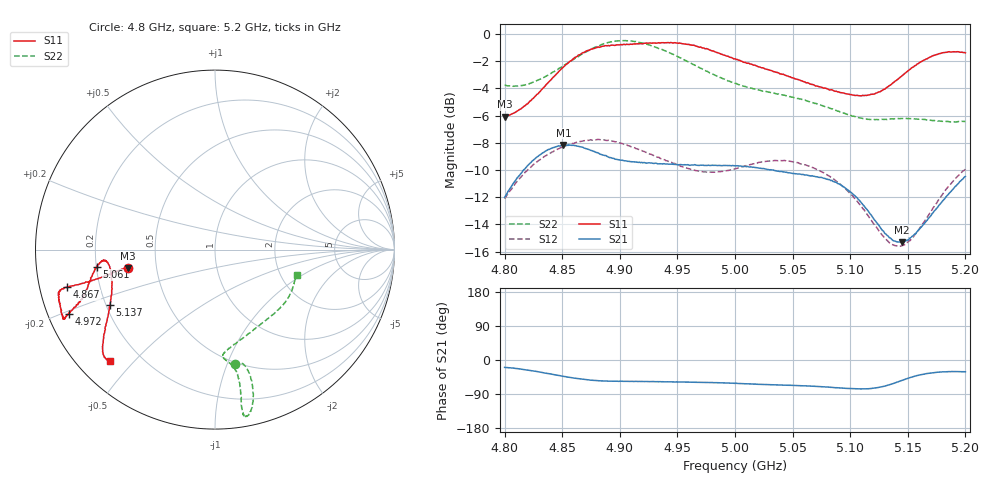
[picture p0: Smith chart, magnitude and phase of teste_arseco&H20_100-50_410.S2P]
! Network Analyzer HP8722D
! Hewlett-Packard
! Data name: Linha & Wilkinson
! Saver's name: Rodrigo Anjos
! Comments: Teste da utilização de aquisição
! continua pelo VNA HP8722D
! Time and date: 6/5/2025 15:59
!  Frequency  S11  S21  S12  S22
# HZ  S  MA R 50
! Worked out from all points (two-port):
!   401 points, 4.8 GHz to 5.2 GHz, reference 50 ohm
!   highest |S21| = -8.16 dB at 4.851 GHz (marker M1); lowest = -15.3 dB at 5.145 GHz (marker M2)
!   |S21| within 3 dB of the highest: 4.806 GHz to 5.093 GHz (286.5 MHz wide, 5.79 % of centre); 5.192012 GHz to end of sweep
!   lowest |S11| = -6.1 dB at 4.8 GHz (marker M3), VSWR 2.97, Z = 17 - j4.62 ohm
!   |S11| at or under -10 dB: nowhere
!   |S22| runs from -6.5 to -0.5 dB; largest |S21 - S12| = 0.62
!   S11 on the Smith chart (normalised r, x): 4.8 GHz: 0.34, -0.09; 4.867 GHz: 0.08, -0.12; 4.972 GHz: 0.06, -0.21; 5.061 GHz: 0.20, -0.07; 5.137 GHz: 0.22, -0.24; 5.2 GHz: 0.09, -0.43
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4.8e9  0.4959 -168.1  0.2508 -19.4  0.2479 -140.7  0.6477 -80.3
4.823e9  0.5696 -167.4  0.3371 -27.8  0.3245 -143.5  0.6598 -75.9
4.851e9  0.7553 -165.7  0.3907 -43.1  0.3847 -149.0  0.7646 -74.5
4.867e9  0.8489 -165.7  0.3837 -50.6  0.4033 -151.8  0.8425 -75.3
4.881e9  0.8961 -165.2  0.3658 -54.5  0.4095 -154.2  0.9026 -76.7
4.901e9  0.9148 -162.1  0.3433 -56.0  0.3966 -156.6  0.9465 -79.2
4.934e9  0.9285 -156.1  0.333 -57.3  0.3518 -155.5  0.8833 -80.4
4.953e9  0.9231 -155.3  0.3311 -58.0  0.3259 -151.9  0.8154 -79.8
4.972e9  0.8875 -156.2  0.3295 -59.0  0.3115 -146.0  0.7422 -79.6
5e9  0.8105 -158.9  0.3276 -61.7  0.3195 -137.1  0.6583 -81.2
5.036e9  0.7225 -165.5  0.3137 -65.9  0.3422 -134.3  0.6025 -85.6
5.061e9  0.665 -171.7  0.3029 -68.2  0.3303 -136.1  0.5709 -84.0
5.067e9  0.6525 -172.9  0.3012 -68.9  0.3229 -136.6  0.5598 -82.5
5.087e9  0.6151 -174.4  0.2852 -73.1  0.2899 -138.3  0.5244 -74.9
5.103e9  0.5958 -171.5  0.2561 -75.9  0.2508 -138.6  0.4982 -65.3
5.117e9  0.5975 -164.9  0.2188 -75.4  0.2099 -135.0  0.4848 -55.3
5.134e9  0.6458 -154.3  0.1781 -65.2  0.1707 -120.8  0.4868 -43.3
5.137e9  0.6596 -152.3  0.1741 -62.5  0.1678 -117.0  0.4872 -41.5
5.145e9  0.7025 -148.0  0.1712 -53.5  0.1666 -106.3  0.4886 -37.0
5.155e9  0.7565 -143.8  0.1819 -43.6  0.1798 -93.9  0.4875 -31.8
5.174e9  0.8377 -138.4  0.2255 -32.7  0.236 -80.2  0.4791 -23.9
5.2e9  0.8522 -133.5  0.2993 -31.2  0.3181 -76.7  0.4767 -17.5
